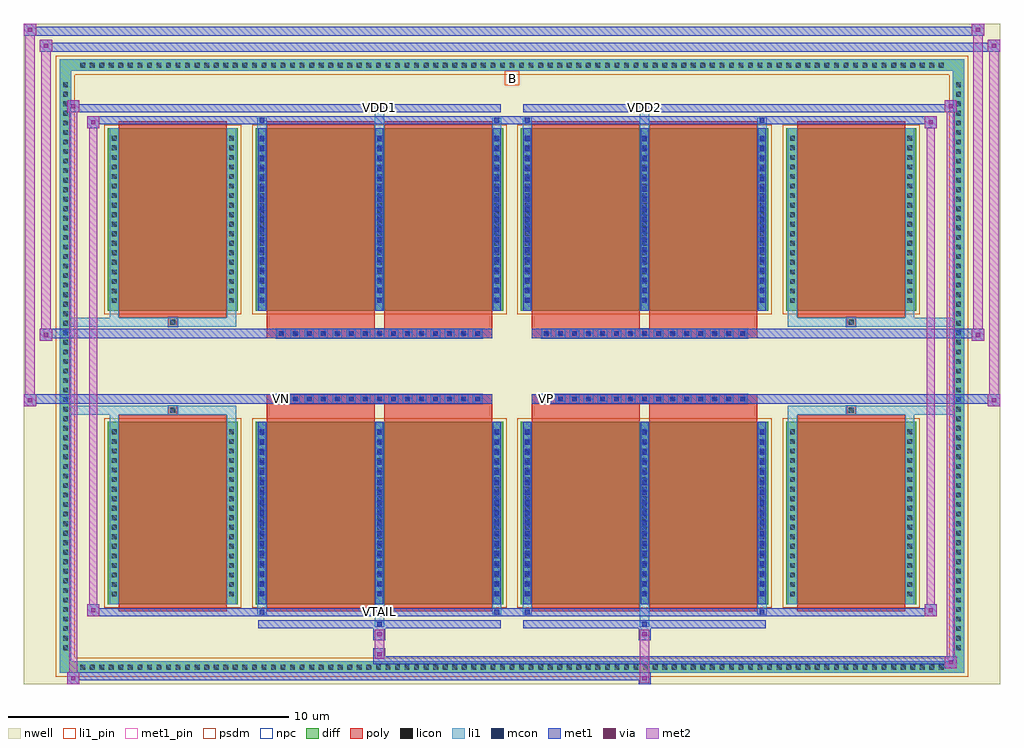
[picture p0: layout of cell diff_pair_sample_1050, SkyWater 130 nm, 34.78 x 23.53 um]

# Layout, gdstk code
import gdstk
lib = gdstk.Library(unit=1e-6, precision=5e-09)
def R(c, l, rs):  # rectangles x0, y0, x1, y1
    for r in rs: c.add(gdstk.rectangle(r[:2], r[2:], *l))
def A(c, l, x, y, w, h, nx, ny, dx, dy):  # array of equal rectangles
    R(c, l, [(x+i*dx, y+j*dy, x+i*dx+w, y+j*dy+h) for i in range(nx) for j in range(ny)])
def P(c, l, *ps):  # polygons
    for p in ps: c.add(gdstk.Polygon(p, *l))
nwell = (64, 20)
diff = (65, 20)
poly = (66, 20)
licon = (66, 44)
li1_pin = (67, 16)
li1 = (67, 20)
mcon = (67, 44)
met1_pin = (68, 16)
met1 = (68, 20)
via = (68, 44)
met2 = (69, 20)
psdm = (94, 20)
npc = (95, 20)

diff_pair_sample_1050 = lib.new_cell('diff_pair_sample_1050')
R(diff_pair_sample_1050, nwell, [(-17.39,-11.33,17.39,12.2), (-14.71,-9.52,-0.01,-0.8), (0.01,-9.52,14.71,-0.8), (-14.71,0.8,-0.01,9.52), (0.01,0.8,14.71,9.52)])
A(diff_pair_sample_1050, diff, -15.505, -10.93, 0.41, 0.41, 91, 2, 0.34, 21.45)
A(diff_pair_sample_1050, diff, -16.12, -10.235, 0.41, 0.41, 1, 60, 0, 0.34)
A(diff_pair_sample_1050, diff, 15.71, -10.235, 0.41, 0.41, 1, 60, 0, 0.34)
R(diff_pair_sample_1050, diff, [(-15.505,-10.93,15.505,-10.52), (-16.12,-10.235,-15.71,10.235), (15.71,-10.235,16.12,10.235), (-14.4,-8.475,-9.77,-1.985), (-9.13,-8.475,-0.32,-1.985), (0.32,-8.475,9.13,-1.985), (9.77,-8.475,14.4,-1.985), (-14.4,1.985,-9.77,8.475), (-9.13,1.985,-0.32,8.475), (0.32,1.985,9.13,8.475), (9.77,1.985,14.4,8.475), (-15.505,10.52,15.505,10.93)])
P(diff_pair_sample_1050, diff, [(16.12,10.93),(-16.12,10.93),(-16.12,-10.52),(-15.71,-10.52),(-15.71,10.52),(15.71,10.52),(15.71,-10.52),(-15.71,-10.52),(-16.12,-10.52),(-16.12,-10.93),(16.12,-10.93)])
A(diff_pair_sample_1050, poly, -8.39, -1.33, 0.33, 0.33, 15, 2, 0.5, 2.33)
A(diff_pair_sample_1050, poly, 1.06, -1.33, 0.33, 0.33, 15, 2, 0.5, 2.33)
R(diff_pair_sample_1050, poly, [(-14.01,-8.725,-10.16,-1.735), (-8.74,-8.725,-4.89,-1.735), (-4.56,-8.725,-0.71,-1.735), (0.71,-8.725,4.56,-1.735), (4.89,-8.725,8.74,-1.735), (10.16,-8.725,14.01,-1.735), (-12.25,-1.735,-11.92,-1.405), (-12.25,-1.735,-11.92,-1.405), (-8.74,-1.735,-4.89,-1.33), (-4.56,-1.735,-0.71,-1.33), (0.71,-1.735,4.56,-1.33), (4.89,-1.735,8.74,-1.33), (11.92,-1.735,12.25,-1.405), (11.92,-1.735,12.25,-1.405), (-8.74,-1.33,-0.71,-1), (0.71,-1.33,8.74,-1), (-8.74,1,-0.71,1.33), (0.71,1,8.74,1.33), (-8.74,1.33,-4.89,1.735), (-4.56,1.33,-0.71,1.735), (0.71,1.33,4.56,1.735), (4.89,1.33,8.74,1.735), (-12.25,1.405,-11.92,1.735), (-12.25,1.405,-11.92,1.735), (11.92,1.405,12.25,1.735), (11.92,1.405,12.25,1.735), (-14.01,1.735,-10.16,8.725), (-8.74,1.735,-4.89,8.725), (-4.56,1.735,-0.71,8.725), (0.71,1.735,4.56,8.725), (4.89,1.735,8.74,8.725), (10.16,1.735,14.01,8.725)])
A(diff_pair_sample_1050, licon, -15.385, -10.81, 0.17, 0.17, 91, 2, 0.34, 21.45)
A(diff_pair_sample_1050, licon, -16, -10.115, 0.17, 0.17, 1, 60, 0, 0.34)
A(diff_pair_sample_1050, licon, 15.83, -10.115, 0.17, 0.17, 1, 60, 0, 0.34)
A(diff_pair_sample_1050, licon, -14.26, -8.205, 0.17, 0.17, 1, 18, 0, 0.34)
A(diff_pair_sample_1050, licon, -10.08, -8.205, 0.17, 0.17, 1, 18, 0, 0.34)
A(diff_pair_sample_1050, licon, -8.99, -8.205, 0.17, 0.17, 3, 18, 4.18, 0.34)
A(diff_pair_sample_1050, licon, 0.46, -8.205, 0.17, 0.17, 3, 18, 4.18, 0.34)
A(diff_pair_sample_1050, licon, 9.91, -8.205, 0.17, 0.17, 1, 18, 0, 0.34)
A(diff_pair_sample_1050, licon, 14.09, -8.205, 0.17, 0.17, 1, 18, 0, 0.34)
A(diff_pair_sample_1050, licon, -8.31, -1.25, 0.17, 0.17, 15, 2, 0.5, 2.33)
A(diff_pair_sample_1050, licon, 1.14, -1.25, 0.17, 0.17, 15, 2, 0.5, 2.33)
A(diff_pair_sample_1050, licon, -14.26, 2.255, 0.17, 0.17, 1, 18, 0, 0.34)
A(diff_pair_sample_1050, licon, -10.08, 2.255, 0.17, 0.17, 1, 18, 0, 0.34)
A(diff_pair_sample_1050, licon, -8.99, 2.255, 0.17, 0.17, 3, 18, 4.18, 0.34)
A(diff_pair_sample_1050, licon, 0.46, 2.255, 0.17, 0.17, 3, 18, 4.18, 0.34)
A(diff_pair_sample_1050, licon, 9.91, 2.255, 0.17, 0.17, 1, 18, 0, 0.34)
A(diff_pair_sample_1050, licon, 14.09, 2.255, 0.17, 0.17, 1, 18, 0, 0.34)
R(diff_pair_sample_1050, licon, [(-12.17,-1.655,-12,-1.485), (12,-1.655,12.17,-1.485), (-12.17,1.485,-12,1.655), (12,1.485,12.17,1.655)])
R(diff_pair_sample_1050, li1_pin, [(-0.25,10.02,0.25,10.52)])
A(diff_pair_sample_1050, li1, -15.465, -10.89, 0.33, 0.33, 91, 2, 0.34, 21.45)
A(diff_pair_sample_1050, li1, -16.08, -10.195, 0.33, 0.33, 1, 60, 0, 0.34)
A(diff_pair_sample_1050, li1, 15.75, -10.195, 0.33, 0.33, 1, 60, 0, 0.34)
A(diff_pair_sample_1050, li1, -9.07, -8.475, 0.33, 6.49, 3, 2, 4.18, 10.46)
A(diff_pair_sample_1050, li1, 0.38, -8.475, 0.33, 6.49, 3, 2, 4.18, 10.46)
A(diff_pair_sample_1050, li1, -14.34, -8.285, 0.33, 0.33, 1, 18, 0, 0.34)
A(diff_pair_sample_1050, li1, -10.16, -8.285, 0.33, 0.33, 1, 18, 0, 0.34)
A(diff_pair_sample_1050, li1, -9.07, -8.285, 0.33, 0.33, 3, 18, 4.18, 0.34)
A(diff_pair_sample_1050, li1, 0.38, -8.285, 0.33, 0.33, 3, 18, 4.18, 0.34)
A(diff_pair_sample_1050, li1, 9.83, -8.285, 0.33, 0.33, 1, 18, 0, 0.34)
A(diff_pair_sample_1050, li1, 14.01, -8.285, 0.33, 0.33, 1, 18, 0, 0.34)
A(diff_pair_sample_1050, li1, -8.99, -8.195, 0.17, 0.17, 3, 17, 4.18, 0.36)
A(diff_pair_sample_1050, li1, -8.99, -8.195, 0.17, 5.93, 3, 2, 4.18, 10.46)
A(diff_pair_sample_1050, li1, 0.46, -8.195, 0.17, 0.17, 3, 17, 4.18, 0.36)
A(diff_pair_sample_1050, li1, 0.46, -8.195, 0.17, 5.93, 3, 2, 4.18, 10.46)
A(diff_pair_sample_1050, li1, -8.39, -1.33, 0.33, 0.33, 15, 2, 0.5, 2.33)
A(diff_pair_sample_1050, li1, 1.06, -1.33, 0.33, 0.33, 15, 2, 0.5, 2.33)
A(diff_pair_sample_1050, li1, -14.34, 2.175, 0.33, 0.33, 1, 18, 0, 0.34)
A(diff_pair_sample_1050, li1, -10.16, 2.175, 0.33, 0.33, 1, 18, 0, 0.34)
A(diff_pair_sample_1050, li1, -9.07, 2.175, 0.33, 0.33, 3, 18, 4.18, 0.34)
A(diff_pair_sample_1050, li1, 0.38, 2.175, 0.33, 0.33, 3, 18, 4.18, 0.34)
A(diff_pair_sample_1050, li1, 9.83, 2.175, 0.33, 0.33, 1, 18, 0, 0.34)
A(diff_pair_sample_1050, li1, 14.01, 2.175, 0.33, 0.33, 1, 18, 0, 0.34)
A(diff_pair_sample_1050, li1, -8.99, 2.265, 0.17, 0.17, 3, 17, 4.18, 0.36)
A(diff_pair_sample_1050, li1, 0.46, 2.265, 0.17, 0.17, 3, 17, 4.18, 0.36)
R(diff_pair_sample_1050, li1, [(-16.12,-10.93,-15.71,-10.52), (-16.12,-10.93,-15.71,-10.52), (-15.71,-10.93,15.71,-10.52), (15.71,-10.93,16.12,-10.52), (15.71,-10.93,16.12,-10.52), (-16.12,-10.52,-15.71,10.52), (15.71,-10.52,16.12,10.52), (-4.89,-9.28,-4.56,-8.475), (-4.81,-9.28,-4.64,-9.11), (4.56,-9.28,4.89,-8.475), (4.64,-9.28,4.81,-9.11), (-9.07,-8.85,-8.74,-8.475), (-8.99,-8.85,-8.82,-8.68), (-0.71,-8.85,-0.38,-8.475), (-0.63,-8.85,-0.46,-8.68), (0.38,-8.85,0.71,-8.475), (0.46,-8.85,0.63,-8.68), (8.74,-8.85,9.07,-8.475), (8.82,-8.85,8.99,-8.68), (-14.34,-8.475,-14.01,-1.985), (-10.16,-8.475,-9.83,-1.985), (9.83,-8.475,10.16,-1.985), (14.01,-8.475,14.34,-1.985), (-14.34,-1.985,-14.01,-1.405), (-10.16,-1.985,-9.83,-1.405), (9.83,-1.985,10.16,-1.405), (14.01,-1.985,14.34,-1.405), (-16.12,-1.735,-12.25,-1.405), (-14.34,-1.735,-12.25,-1.405), (-12.25,-1.735,-11.92,-1.405), (-11.92,-1.735,-9.83,-1.405), (9.83,-1.735,11.92,-1.405), (11.92,-1.735,12.25,-1.405), (11.92,-1.735,16.12,-1.405), (12.25,-1.735,14.34,-1.405), (-16.12,1.405,-12.25,1.735), (-14.34,1.405,-12.25,1.735), (-14.34,1.405,-14.01,1.985), (-12.25,1.405,-11.92,1.735), (-11.92,1.405,-9.83,1.735), (-10.16,1.405,-9.83,1.985), (9.83,1.405,11.92,1.735), (9.83,1.405,10.16,1.985), (11.92,1.405,12.25,1.735), (11.92,1.405,16.12,1.735), (12.25,1.405,14.34,1.735), (14.01,1.405,14.34,1.985), (-14.34,1.985,-14.01,8.475), (-10.16,1.985,-9.83,8.475), (9.83,1.985,10.16,8.475), (14.01,1.985,14.34,8.475), (-9.07,8.475,-8.74,8.85), (-4.89,8.475,-4.56,9.28), (-0.71,8.475,-0.38,8.85), (0.38,8.475,0.71,8.85), (4.56,8.475,4.89,9.28), (8.74,8.475,9.07,8.85), (-8.99,8.68,-8.82,8.85), (-0.63,8.68,-0.46,8.85), (0.46,8.68,0.63,8.85), (8.82,8.68,8.99,8.85), (-4.81,9.11,-4.64,9.28), (4.64,9.11,4.81,9.28), (-16.12,10.52,-15.71,10.93), (-16.12,10.52,-15.71,10.93), (-15.71,10.52,15.71,10.93), (15.71,10.52,16.12,10.93), (15.71,10.52,16.12,10.93)])
A(diff_pair_sample_1050, mcon, -8.99, -8.195, 0.17, 0.17, 3, 17, 4.18, 0.36)
A(diff_pair_sample_1050, mcon, 0.46, -8.195, 0.17, 0.17, 3, 17, 4.18, 0.36)
A(diff_pair_sample_1050, mcon, -8.31, -1.25, 0.17, 0.17, 15, 2, 0.5, 2.33)
A(diff_pair_sample_1050, mcon, 1.14, -1.25, 0.17, 0.17, 15, 2, 0.5, 2.33)
A(diff_pair_sample_1050, mcon, -8.99, 2.265, 0.17, 0.17, 3, 17, 4.18, 0.36)
A(diff_pair_sample_1050, mcon, 0.46, 2.265, 0.17, 0.17, 3, 17, 4.18, 0.36)
R(diff_pair_sample_1050, mcon, [(-4.81,-9.28,-4.64,-9.11), (4.64,-9.28,4.81,-9.11), (-8.99,-8.85,-8.82,-8.68), (-0.63,-8.85,-0.46,-8.68), (0.46,-8.85,0.63,-8.68), (8.82,-8.85,8.99,-8.68), (-8.99,8.68,-8.82,8.85), (-0.63,8.68,-0.46,8.85), (0.46,8.68,0.63,8.85), (8.82,8.68,8.99,8.85), (-4.81,9.11,-4.64,9.28), (4.64,9.11,4.81,9.28)])
R(diff_pair_sample_1050, met1_pin, [(-4.86,-8.89,-4.59,-8.62), (-8.36,-1.29,-8.09,-1.02), (1.09,-1.29,1.36,-1.02), (-4.86,9.07,-4.59,9.34), (4.59,9.07,4.86,9.34)])
A(diff_pair_sample_1050, met1, -9.05, -8.475, 0.29, 6.49, 3, 2, 4.18, 10.46)
A(diff_pair_sample_1050, met1, 0.4, -8.475, 0.29, 6.49, 3, 2, 4.18, 10.46)
A(diff_pair_sample_1050, met1, -9.05, -8.255, 0.29, 0.29, 3, 17, 4.18, 0.36)
A(diff_pair_sample_1050, met1, 0.4, -8.255, 0.29, 0.29, 3, 17, 4.18, 0.36)
A(diff_pair_sample_1050, met1, -8.37, -1.31, 0.29, 0.29, 15, 2, 0.5, 2.33)
A(diff_pair_sample_1050, met1, 1.08, -1.31, 0.29, 0.29, 15, 2, 0.5, 2.33)
A(diff_pair_sample_1050, met1, -9.05, 2.205, 0.29, 0.29, 3, 17, 4.18, 0.36)
A(diff_pair_sample_1050, met1, 0.4, 2.205, 0.29, 0.29, 3, 17, 4.18, 0.36)
R(diff_pair_sample_1050, met1, [(-15.85,-11.33,-15.42,-10.9), (4.51,-11.33,4.94,-10.9), (-15.85,-11.19,4.94,-10.9), (15.42,-10.76,15.85,-10.33), (-4.94,-10.62,15.85,-10.33), (-4.94,-10.48,-4.51,-10.05), (-4.94,-9.77,-4.51,-9.34), (4.51,-9.77,4.94,-9.34), (-9.05,-9.34,-0.4,-9.05), (-4.87,-9.34,-4.58,-9.05), (0.4,-9.34,9.05,-9.05), (4.58,-9.34,4.87,-9.05), (-15.14,-8.91,-14.71,-8.48), (-15.14,-8.91,-9.05,-8.62), (-9.05,-8.91,-8.76,-8.62), (-9.05,-8.91,-0.4,-8.62), (-0.69,-8.91,-0.4,-8.62), (-0.4,-8.91,0.4,-8.62), (0.4,-8.91,0.69,-8.62), (0.4,-8.91,9.05,-8.62), (8.76,-8.91,9.05,-8.62), (9.05,-8.91,15.14,-8.62), (14.71,-8.91,15.14,-8.48), (-17.39,-1.43,-16.96,-1), (16.96,-1.43,17.39,-1), (-17.39,-1.33,-0.71,-1), (-8.74,-1.33,-0.71,-1), (0.71,-1.33,8.74,-1), (0.71,-1.33,17.39,-1), (-16.82,0.9,-16.39,1.33), (16.39,0.9,16.82,1.33), (-16.82,1,-8.74,1.33), (-8.74,1,-0.71,1.33), (0.71,1,8.74,1.33), (8.74,1,16.82,1.33), (-15.14,8.48,-14.71,8.91), (14.71,8.48,15.14,8.91), (-15.14,8.62,-9.05,8.91), (-9.05,8.62,-8.76,8.91), (-9.05,8.62,-0.4,8.91), (-0.69,8.62,-0.4,8.91), (-0.4,8.62,0.4,8.91), (0.4,8.62,0.69,8.91), (0.4,8.62,9.05,8.91), (8.76,8.62,9.05,8.91), (9.05,8.62,15.14,8.91), (-15.85,9.05,-15.42,9.48), (-15.85,9.05,-9.05,9.34), (-9.05,9.05,-0.4,9.34), (-4.87,9.05,-4.58,9.34), (0.4,9.05,9.05,9.34), (4.58,9.05,4.87,9.34), (9.05,9.05,15.85,9.34), (15.42,9.05,15.85,9.48), (-16.82,11.2,-16.39,11.63), (-16.82,11.2,-14.71,11.53), (-14.71,11.2,14.71,11.53), (14.71,11.2,17.39,11.53), (16.96,11.2,17.39,11.63), (-17.39,11.77,-16.96,12.2), (-17.39,11.77,-14.71,12.1), (-14.71,11.77,14.71,12.1), (14.71,11.77,16.82,12.1), (16.39,11.77,16.82,12.2)])
R(diff_pair_sample_1050, via, [(-15.71,-11.19,-15.56,-11.04), (4.65,-11.19,4.8,-11.04), (15.56,-10.62,15.71,-10.47), (-4.8,-10.34,-4.65,-10.19), (-4.8,-9.63,-4.65,-9.48), (4.65,-9.63,4.8,-9.48), (-15,-8.77,-14.85,-8.62), (14.85,-8.77,15,-8.62), (-17.25,-1.29,-17.1,-1.14), (17.1,-1.29,17.25,-1.14), (-16.68,1.04,-16.53,1.19), (16.53,1.04,16.68,1.19), (-15,8.62,-14.85,8.77), (14.85,8.62,15,8.77), (-15.71,9.19,-15.56,9.34), (15.56,9.19,15.71,9.34), (-16.68,11.34,-16.53,11.49), (17.1,11.34,17.25,11.49), (-17.25,11.91,-17.1,12.06), (16.53,11.91,16.68,12.06)])
R(diff_pair_sample_1050, met2, [(-15.85,-11.33,-15.42,-10.9), (-15.78,-11.33,-15.49,9.48), (-15.49,-11.33,-15.42,-10.9), (-15.8,-11.28,-15.47,-10.95), (4.56,-11.28,4.89,-10.95), (4.56,-10.95,4.89,-9.72), (15.42,-10.76,15.85,-10.33), (15.49,-10.76,15.78,9.48), (15.78,-10.76,15.85,-10.33), (15.47,-10.71,15.8,-10.38), (-4.89,-10.43,-4.56,-10.1), (-4.89,-10.1,-4.56,-9.72), (-4.89,-9.72,-4.56,-9.39), (4.56,-9.72,4.89,-9.39), (-15.14,-8.91,-14.71,-8.48), (-15.07,-8.91,-14.78,8.91), (-14.78,-8.91,-14.71,-8.48), (14.71,-8.91,15.14,-8.48), (14.78,-8.91,15.07,8.91), (15.07,-8.91,15.14,-8.48), (-15.09,-8.86,-14.76,-8.53), (14.76,-8.86,15.09,-8.53), (-17.39,-1.43,-16.96,-1), (-17.34,-1.43,-17.01,12.2), (-17.01,-1.43,-16.96,-1), (16.96,-1.43,17.39,-1), (17.01,-1.43,17.34,11.63), (17.34,-1.43,17.39,-1), (-17.34,-1.38,-17.01,-1.05), (17.01,-1.38,17.34,-1.05), (-16.82,0.9,-16.39,1.33), (-16.77,0.9,-16.44,11.63), (-16.44,0.9,-16.39,1.33), (16.39,0.9,16.82,1.33), (16.44,0.9,16.77,12.2), (16.77,0.9,16.82,1.33), (-16.77,0.95,-16.44,1.28), (16.44,0.95,16.77,1.28), (-15.14,8.48,-14.71,8.91), (-14.78,8.48,-14.71,8.91), (14.71,8.48,15.14,8.91), (15.07,8.48,15.14,8.91), (-15.09,8.53,-14.76,8.86), (14.76,8.53,15.09,8.86), (-15.85,9.05,-15.42,9.48), (-15.49,9.05,-15.42,9.48), (15.42,9.05,15.85,9.48), (15.78,9.05,15.85,9.48), (-15.8,9.1,-15.47,9.43), (15.47,9.1,15.8,9.43), (-16.82,11.2,-16.39,11.63), (-16.44,11.2,-16.39,11.63), (16.96,11.2,17.39,11.63), (17.34,11.2,17.39,11.63), (-16.77,11.25,-16.44,11.58), (17.01,11.25,17.34,11.58), (-17.39,11.77,-16.96,12.2), (-17.01,11.77,-16.96,12.2), (16.39,11.77,16.82,12.2), (16.77,11.77,16.82,12.2), (-17.34,11.82,-17.01,12.15), (16.44,11.82,16.77,12.15)])
R(diff_pair_sample_1050, psdm, [(-14.53,-8.605,-9.64,-1.855), (-9.26,-8.605,-0.19,-1.855), (0.19,-8.605,9.26,-1.855), (9.64,-8.605,14.53,-1.855), (-14.53,1.855,-9.64,8.605), (-9.26,1.855,-0.19,8.605), (0.19,1.855,9.26,8.605), (9.64,1.855,14.53,8.605)])
P(diff_pair_sample_1050, psdm, [(16.25,11.06),(-16.25,11.06),(-16.25,-10.39),(-15.58,-10.39),(-15.58,10.39),(15.58,10.39),(15.58,-10.39),(-15.58,-10.39),(-16.25,-10.39),(-16.25,-11.06),(16.25,-11.06)])
A(diff_pair_sample_1050, npc, -8.41, -1.35, 0.37, 0.37, 15, 2, 0.5, 2.33)
A(diff_pair_sample_1050, npc, 1.04, -1.35, 0.37, 0.37, 15, 2, 0.5, 2.33)
R(diff_pair_sample_1050, npc, [(-12.27,-1.755,-11.9,-1.385), (11.9,-1.755,12.27,-1.385), (-8.41,-1.35,-7.54,-0.98), (-8.41,-1.35,-7.54,-0.98), (-7.91,-1.35,-7.04,-0.98), (-7.91,-1.35,-7.04,-0.98), (-7.41,-1.35,-6.54,-0.98), (-7.41,-1.35,-6.54,-0.98), (-6.91,-1.35,-6.04,-0.98), (-6.91,-1.35,-6.04,-0.98), (-6.41,-1.35,-5.54,-0.98), (-6.41,-1.35,-5.54,-0.98), (-5.91,-1.35,-5.04,-0.98), (-5.91,-1.35,-5.04,-0.98), (-5.41,-1.35,-4.54,-0.98), (-5.41,-1.35,-4.54,-0.98), (-4.91,-1.35,-4.04,-0.98), (-4.91,-1.35,-4.04,-0.98), (-4.41,-1.35,-3.54,-0.98), (-4.41,-1.35,-3.54,-0.98), (-3.91,-1.35,-3.04,-0.98), (-3.91,-1.35,-3.04,-0.98), (-3.41,-1.35,-2.54,-0.98), (-3.41,-1.35,-2.54,-0.98), (-2.91,-1.35,-2.04,-0.98), (-2.91,-1.35,-2.04,-0.98), (-2.41,-1.35,-1.54,-0.98), (-2.41,-1.35,-1.54,-0.98), (-1.91,-1.35,-1.04,-0.98), (-1.91,-1.35,-1.04,-0.98), (1.04,-1.35,1.91,-0.98), (1.04,-1.35,1.91,-0.98), (1.54,-1.35,2.41,-0.98), (1.54,-1.35,2.41,-0.98), (2.04,-1.35,2.91,-0.98), (2.04,-1.35,2.91,-0.98), (2.54,-1.35,3.41,-0.98), (2.54,-1.35,3.41,-0.98), (3.04,-1.35,3.91,-0.98), (3.04,-1.35,3.91,-0.98), (3.54,-1.35,4.41,-0.98), (3.54,-1.35,4.41,-0.98), (4.04,-1.35,4.91,-0.98), (4.04,-1.35,4.91,-0.98), (4.54,-1.35,5.41,-0.98), (4.54,-1.35,5.41,-0.98), (5.04,-1.35,5.91,-0.98), (5.04,-1.35,5.91,-0.98), (5.54,-1.35,6.41,-0.98), (5.54,-1.35,6.41,-0.98), (6.04,-1.35,6.91,-0.98), (6.04,-1.35,6.91,-0.98), (6.54,-1.35,7.41,-0.98), (6.54,-1.35,7.41,-0.98), (7.04,-1.35,7.91,-0.98), (7.04,-1.35,7.91,-0.98), (7.54,-1.35,8.41,-0.98), (7.54,-1.35,8.41,-0.98), (-8.41,0.98,-7.54,1.35), (-8.41,0.98,-7.54,1.35), (-7.91,0.98,-7.04,1.35), (-7.91,0.98,-7.04,1.35), (-7.41,0.98,-6.54,1.35), (-7.41,0.98,-6.54,1.35), (-6.91,0.98,-6.04,1.35), (-6.91,0.98,-6.04,1.35), (-6.41,0.98,-5.54,1.35), (-6.41,0.98,-5.54,1.35), (-5.91,0.98,-5.04,1.35), (-5.91,0.98,-5.04,1.35), (-5.41,0.98,-4.54,1.35), (-5.41,0.98,-4.54,1.35), (-4.91,0.98,-4.04,1.35), (-4.91,0.98,-4.04,1.35), (-4.41,0.98,-3.54,1.35), (-4.41,0.98,-3.54,1.35), (-3.91,0.98,-3.04,1.35), (-3.91,0.98,-3.04,1.35), (-3.41,0.98,-2.54,1.35), (-3.41,0.98,-2.54,1.35), (-2.91,0.98,-2.04,1.35), (-2.91,0.98,-2.04,1.35), (-2.41,0.98,-1.54,1.35), (-2.41,0.98,-1.54,1.35), (-1.91,0.98,-1.04,1.35), (-1.91,0.98,-1.04,1.35), (1.04,0.98,1.91,1.35), (1.04,0.98,1.91,1.35), (1.54,0.98,2.41,1.35), (1.54,0.98,2.41,1.35), (2.04,0.98,2.91,1.35), (2.04,0.98,2.91,1.35), (2.54,0.98,3.41,1.35), (2.54,0.98,3.41,1.35), (3.04,0.98,3.91,1.35), (3.04,0.98,3.91,1.35), (3.54,0.98,4.41,1.35), (3.54,0.98,4.41,1.35), (4.04,0.98,4.91,1.35), (4.04,0.98,4.91,1.35), (4.54,0.98,5.41,1.35), (4.54,0.98,5.41,1.35), (5.04,0.98,5.91,1.35), (5.04,0.98,5.91,1.35), (5.54,0.98,6.41,1.35), (5.54,0.98,6.41,1.35), (6.04,0.98,6.91,1.35), (6.04,0.98,6.91,1.35), (6.54,0.98,7.41,1.35), (6.54,0.98,7.41,1.35), (7.04,0.98,7.91,1.35), (7.04,0.98,7.91,1.35), (7.54,0.98,8.41,1.35), (7.54,0.98,8.41,1.35), (-12.27,1.385,-11.9,1.755), (11.9,1.385,12.27,1.755)])
diff_pair_sample_1050.add(gdstk.Label('VTAIL', (-4.725,-8.755), layer=68, texttype=5))
diff_pair_sample_1050.add(gdstk.Label('VN', (-8.225,-1.155), layer=68, texttype=5))
diff_pair_sample_1050.add(gdstk.Label('VP', (1.225,-1.155), layer=68, texttype=5))
diff_pair_sample_1050.add(gdstk.Label('B', (0,10.27), layer=67, texttype=5))
diff_pair_sample_1050.add(gdstk.Label('VDD2', (4.725,9.205), layer=68, texttype=5))
diff_pair_sample_1050.add(gdstk.Label('VDD1', (-4.725,9.205), layer=68, texttype=5))

lib.write_gds('diff_pair_sample_1050.gds')
